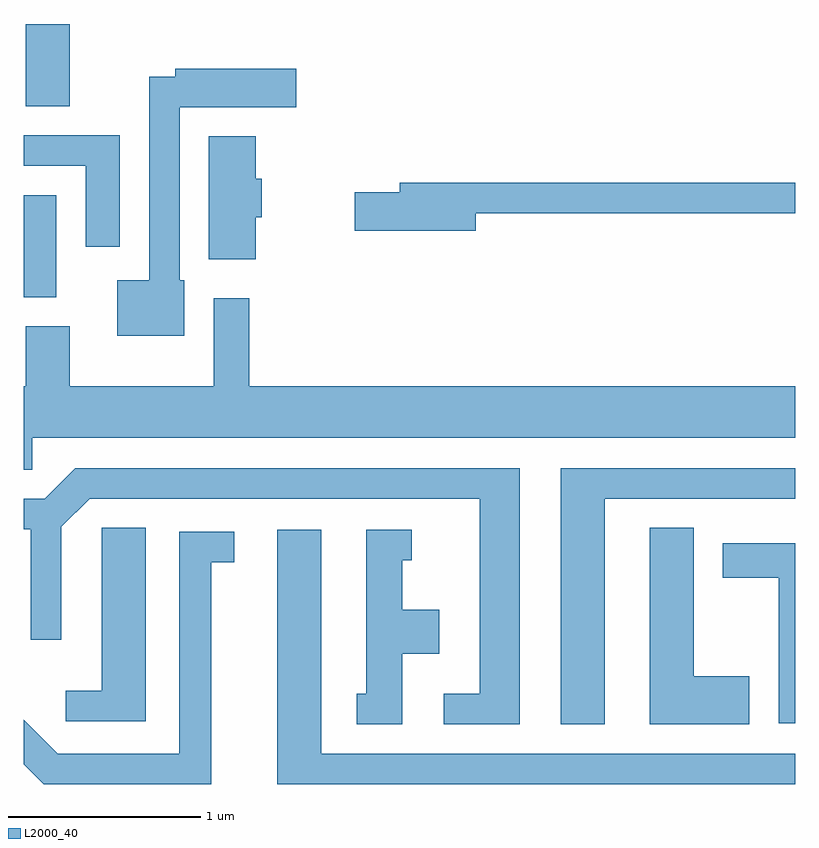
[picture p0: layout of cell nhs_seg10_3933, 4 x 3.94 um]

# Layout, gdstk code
import gdstk
lib = gdstk.Library(unit=1e-6, precision=1e-09)
def R(c, l, rs):  # rectangles x0, y0, x1, y1
    for r in rs: c.add(gdstk.rectangle(r[:2], r[2:], *l))
def P(c, l, *ps):  # polygons
    for p in ps: c.add(gdstk.Polygon(p, *l))
L2000_40 = (2000, 40)

nhs_seg10_3933 = lib.new_cell('nhs_seg10_3933')
R(nhs_seg10_3933, L2000_40, [(301.611,2099.106,301.779,2099.634), (301.621,2100.096,301.849,2100.522)])
P(nhs_seg10_3933, L2000_40, [(302.444,2099.194),(302.419,2099.194),(302.419,2100.091),(303.024,2100.091),(303.024,2100.289),(302.396,2100.289),(302.396,2100.249),(302.261,2100.249),(302.261,2099.194),(302.096,2099.194),(302.096,2098.906),(302.444,2098.906)],
  [(302.109,2099.944),(301.611,2099.944),(301.611,2099.786),(301.931,2099.786),(301.931,2099.366),(302.109,2099.366)],
  [(302.814,2099.521),(302.844,2099.521),(302.844,2099.719),(302.814,2099.719),(302.814,2099.939),(302.571,2099.939),(302.571,2099.301),(302.814,2099.301)],
  [(303.954,2099.541),(305.611,2099.541),(305.611,2099.699),(303.561,2099.699),(303.561,2099.649),(303.326,2099.649),(303.326,2099.451),(303.954,2099.451)],
  [(301.654,2098.376),(305.611,2098.376),(305.611,2098.644),(302.779,2098.644),(302.779,2099.099),(302.596,2099.099),(302.596,2098.644),(301.849,2098.644),(301.849,2098.954),(301.621,2098.954),(301.621,2098.644),(301.611,2098.644),(301.611,2098.211),(301.654,2098.211)],
  [(304.184,2098.219),(301.879,2098.219),(301.719,2098.059),(301.611,2098.059),(301.611,2097.901),(301.646,2097.901),(301.646,2097.328),(301.804,2097.328),(301.804,2097.914),(301.952,2098.061),(303.976,2098.061),(303.976,2097.049),(303.788,2097.049),(303.788,2096.891),(304.184,2096.891)],
  [(304.624,2098.061),(305.611,2098.061),(305.611,2098.219),(304.396,2098.219),(304.396,2096.891),(304.624,2096.891)],
  [(302.244,2097.909),(302.016,2097.909),(302.016,2097.064),(301.828,2097.064),(301.828,2096.906),(302.244,2096.906)],
  [(305.374,2097.139),(305.084,2097.139),(305.084,2097.909),(304.856,2097.909),(304.856,2096.891),(305.374,2096.891)],
  [(305.611,2096.739),(303.154,2096.739),(303.154,2097.899),(302.926,2097.899),(302.926,2096.581),(305.611,2096.581)],
  [(303.574,2097.256),(303.764,2097.256),(303.764,2097.484),(303.574,2097.484),(303.574,2097.741),(303.623,2097.741),(303.623,2097.899),(303.386,2097.899),(303.386,2097.049),(303.338,2097.049),(303.338,2096.891),(303.574,2096.891)],
  [(302.584,2097.731),(302.703,2097.731),(302.703,2097.889),(302.416,2097.889),(302.416,2096.739),(301.787,2096.739),(301.611,2096.915),(301.611,2096.684),(301.714,2096.581),(302.584,2096.581)],
  [(305.611,2097.829),(305.236,2097.829),(305.236,2097.651),(305.526,2097.651),(305.526,2096.896),(305.611,2096.896)])

lib.write_gds('nhs_seg10_3933.gds')
